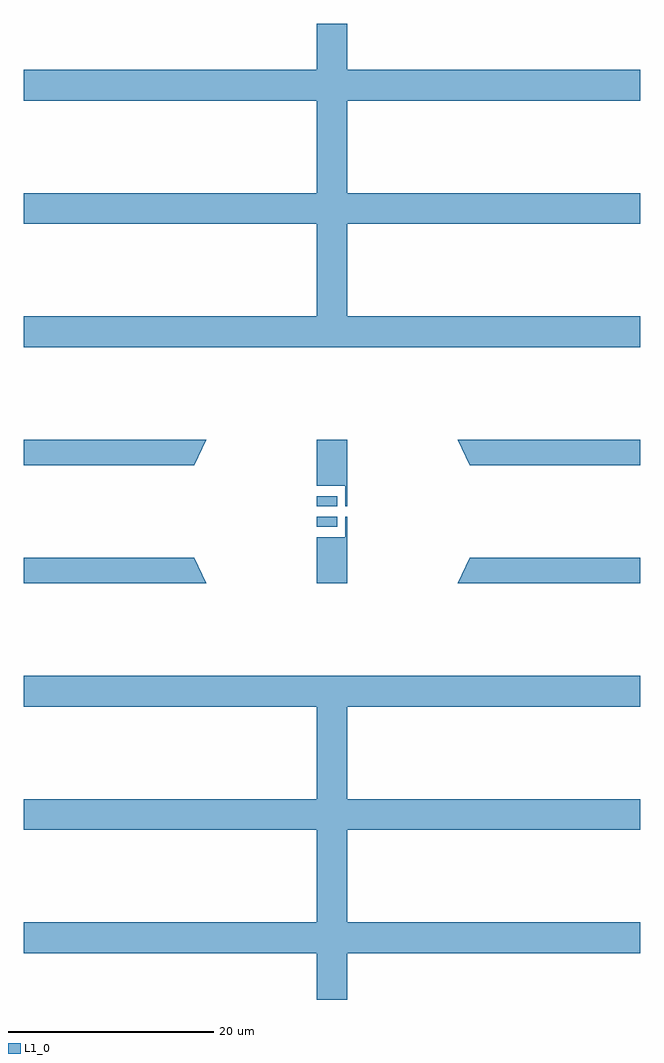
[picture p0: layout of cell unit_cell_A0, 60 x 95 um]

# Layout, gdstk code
from math import pi, radians
import gdstk
lib = gdstk.Library(unit=1e-6, precision=1e-09)
def R(c, l, rs):  # rectangles x0, y0, x1, y1
    for r in rs: c.add(gdstk.rectangle(r[:2], r[2:], *l))
def P(c, l, *ps):  # polygons
    for p in ps: c.add(gdstk.Polygon(p, *l))
L1_0 = (1, 0)

unnamed_2391 = lib.new_cell('Unnamed_2391')
R(unnamed_2391, L1_0, [(28.5,40.5,30,45)])
P(unnamed_2391, L1_0, [(28.5,0),(28.5,4.5),(0,4.5),(0,7.5),(28.5,7.5),(28.5,16.5),(0,16.5),(0,19.5),(28.5,19.5),(28.5,28.5),(0,28.5),(0,31.5),(30,31.5),(30,0)],
  [(0,40.5),(0,43),(16.597,43),(17.773,40.5)])

unnamed_2392 = lib.new_cell('Unnamed_2392')
unnamed_2392.add(gdstk.Reference(unnamed_2391, (0,0)))

rectangle_s2_1_lwg_cfal_ = lib.new_cell('rectangle_S2_1_LWG_CFal_a0a9c26d')
R(rectangle_s2_1_lwg_cfal_, L1_0, [(0,0,2,1)])

rectangle_s0p2_2_lwg_cf_ = lib.new_cell('rectangle_S0p2_2_LWG_CF_9ef6d549')
R(rectangle_s0p2_2_lwg_cf_, L1_0, [(0,0,0.2,2)])

unnamed_2393 = lib.new_cell('Unnamed_2393')
unnamed_2393.add(gdstk.Reference(rectangle_s2_1_lwg_cfal_, (0,-1.5)))
unnamed_2393.add(gdstk.Reference(rectangle_s0p2_2_lwg_cf_, (2.8,-2.5)))

unit_cell_a0 = lib.new_cell('unit_cell_A0')
unit_cell_a0.add(gdstk.Reference(unnamed_2392, (0,0)))
unit_cell_a0.add(gdstk.Reference(unnamed_2392, (60,0), rotation=pi, x_reflection=True))
unit_cell_a0.add(gdstk.Reference(unnamed_2392, (0,95), x_reflection=True))
unit_cell_a0.add(gdstk.Reference(unnamed_2392, (60,95), rotation=pi))
unit_cell_a0.add(gdstk.Reference(unnamed_2393, (28.5,47.5)))
unit_cell_a0.add(gdstk.Reference(unnamed_2393, (28.5,47.5), x_reflection=True))

lib.write_gds('unit_cell_A0.gds')
